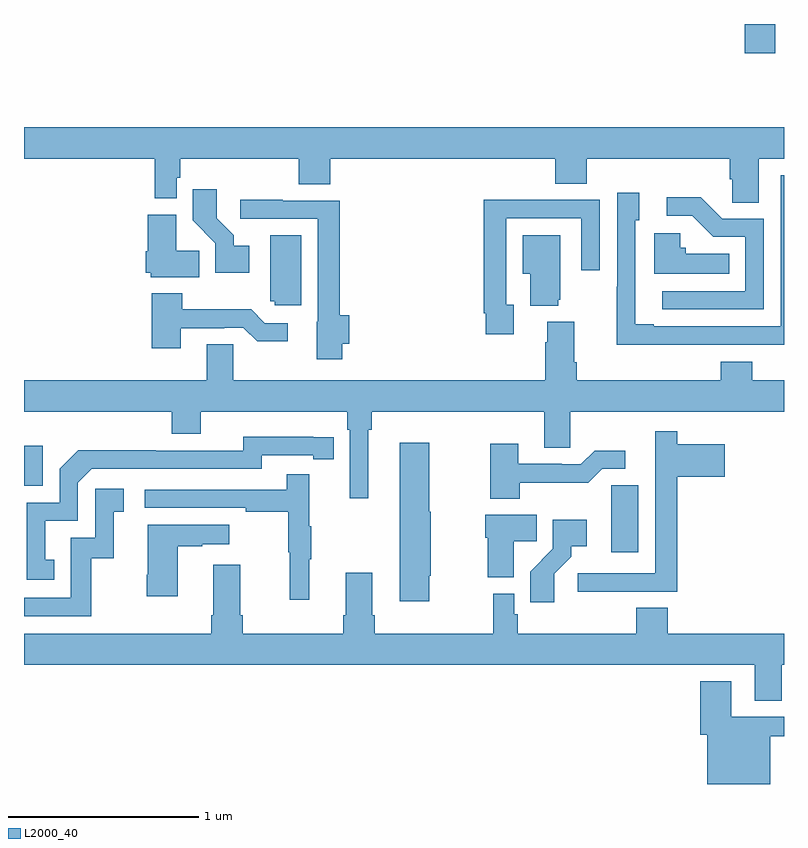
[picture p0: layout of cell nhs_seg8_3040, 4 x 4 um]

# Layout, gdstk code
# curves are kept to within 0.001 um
import gdstk
lib = gdstk.Library(unit=1e-6, precision=1e-09)
def R(c, l, rs):  # rectangles x0, y0, x1, y1
    for r in rs: c.add(gdstk.rectangle(r[:2], r[2:], *l))
def P(c, l, *ps):  # polygons
    for p in ps: c.add(gdstk.Polygon(p, *l))
L2000_40 = (2000, 40)

nhs_seg8_3040 = lib.new_cell('nhs_seg8_3040')
R(nhs_seg8_3040, L2000_40, [(304.793,1091.745,304.953,1091.9)])
P(nhs_seg8_3040, L2000_40, [(304.867,1091.192),(305,1091.192),(305,1091.356),(301,1091.356),(301,1091.192),(301.687,1091.192),(301.687,1090.982),(301.803,1090.982),(301.803,1091.091),(301.823,1091.091),(301.823,1091.192),(302.447,1091.192),(302.447,1091.056),(302.612,1091.056),(302.612,1091.192),(303.797,1091.192),(303.797,1091.059),(303.962,1091.059),(303.962,1091.192),(304.715,1091.192),(304.715,1091.083),(304.728,1091.083),(304.728,1090.96),(304.867,1090.96)],
  [(304.583,1090.212),(305,1090.212),(305,1091.103),(304.983,1091.103),(304.983,1090.308),(304.315,1090.308),(304.315,1090.321),(304.218,1090.321),(304.218,1090.866),(304.237,1090.866),(304.237,1091.011),(304.122,1091.011),(304.122,1090.517),(304.12,1090.517),(304.12,1090.211),(304.583,1090.211)],
  [(302.185,1090.732),(302.104,1090.732),(302.104,1090.787),(302.014,1090.877),(302.014,1091.029),(301.888,1091.029),(301.888,1090.866),(302.007,1090.747),(302.007,1090.592),(302.185,1090.592)],
  [(304.893,1090.875),(304.674,1090.875),(304.561,1090.988),(304.383,1090.988),(304.383,1090.89),(304.517,1090.89),(304.628,1090.779),(304.797,1090.779),(304.797,1090.494),(304.359,1090.494),(304.359,1090.398),(304.893,1090.398)],
  [(303.577,1090.422),(303.537,1090.422),(303.537,1090.878),(303.933,1090.878),(303.933,1090.605),(304.029,1090.605),(304.029,1090.974),(303.713,1090.974),(303.713,1090.976),(303.421,1090.976),(303.421,1090.378),(303.429,1090.378),(303.429,1090.266),(303.577,1090.266)],
  [(302.676,1090.218),(302.711,1090.218),(302.711,1090.367),(302.663,1090.367),(302.663,1090.971),(302.363,1090.971),(302.363,1090.974),(302.139,1090.974),(302.139,1090.875),(302.547,1090.875),(302.547,1090.332),(302.54,1090.332),(302.54,1090.136),(302.676,1090.136)],
  [(301.922,1090.706),(301.801,1090.706),(301.801,1090.897),(301.652,1090.897),(301.652,1090.704),(301.64,1090.704),(301.64,1090.59),(301.668,1090.59),(301.668,1090.568),(301.922,1090.568)],
  [(304.712,1090.69),(304.482,1090.69),(304.482,1090.722),(304.455,1090.722),(304.455,1090.798),(304.316,1090.798),(304.316,1090.586),(304.712,1090.586)],
  [(303.812,1090.449),(303.823,1090.449),(303.823,1090.789),(303.626,1090.789),(303.626,1090.586),(303.665,1090.586),(303.665,1090.418),(303.812,1090.418)],
  [(302.458,1090.789),(302.297,1090.789),(302.297,1090.44),(302.319,1090.44),(302.319,1090.419),(302.458,1090.419)],
  [(301.825,1090.299),(302.054,1090.299),(302.054,1090.302),(302.154,1090.302),(302.227,1090.229),(302.389,1090.229),(302.389,1090.326),(302.268,1090.326),(302.195,1090.399),(301.833,1090.399),(301.833,1090.483),(301.673,1090.483),(301.673,1090.194),(301.825,1090.194)],
  [(302.812,1089.764),(302.831,1089.764),(302.831,1089.86),(303.737,1089.86),(303.737,1089.67),(303.876,1089.67),(303.876,1089.86),(305,1089.86),(305,1090.024),(304.832,1090.024),(304.832,1090.123),(304.667,1090.123),(304.667,1090.024),(303.908,1090.024),(303.908,1090.12),(303.895,1090.12),(303.895,1090.333),(303.755,1090.333),(303.755,1090.226),(303.743,1090.226),(303.743,1090.024),(302.1,1090.024),(302.1,1090.214),(301.961,1090.214),(301.961,1090.024),(301,1090.024),(301,1089.86),(301.778,1089.86),(301.778,1089.743),(301.93,1089.743),(301.93,1089.86),(302.702,1089.86),(302.702,1089.764),(302.715,1089.764),(302.715,1089.405),(302.812,1089.405)],
  [(304.139,1088.913),(304.439,1088.913),(304.439,1089.518),(304.687,1089.518),(304.687,1089.688),(304.439,1089.688),(304.439,1089.757),(304.322,1089.757),(304.322,1089.534),(304.323,1089.534),(304.323,1089.009),(303.915,1089.009),(303.915,1088.911),(304.139,1088.911)],
  [(301.16,1089.081),(301.111,1089.081),(301.111,1089.285),(301.284,1089.285),(301.284,1089.486),(301.356,1089.558),(302.25,1089.558),(302.25,1089.63),(302.522,1089.63),(302.522,1089.61),(302.63,1089.61),(302.63,1089.726),(302.154,1089.727),(302.154,1089.654),(301.694,1089.654),(301.694,1089.656),(301.286,1089.656),(301.188,1089.558),(301.188,1089.381),(301.014,1089.381),(301.014,1088.976),(301.16,1088.976)],
  [(303.132,1088.997),(303.142,1088.997),(303.142,1089.333),(303.132,1089.333),(303.132,1089.697),(302.978,1089.697),(302.978,1088.862),(303.132,1088.862)],
  [(303.609,1089.486),(303.971,1089.485),(304.044,1089.558),(304.165,1089.558),(304.165,1089.655),(304.003,1089.655),(303.93,1089.582),(303.83,1089.582),(303.83,1089.585),(303.601,1089.585),(303.601,1089.691),(303.454,1089.691),(303.454,1089.401),(303.609,1089.401)],
  [(301.098,1089.679),(301.001,1089.679),(301.001,1089.567),(301,1089.567),(301,1089.471),(301.098,1089.471)],
  [(302.501,1089.083),(302.512,1089.083),(302.512,1089.257),(302.501,1089.257),(302.501,1089.529),(302.383,1089.529),(302.383,1089.45),(301.635,1089.45),(301.635,1089.354),(302.167,1089.354),(302.167,1089.334),(302.391,1089.334),(302.391,1089.12),(302.398,1089.12),(302.398,1088.871),(302.501,1088.871)],
  [(304.234,1089.473),(304.092,1089.473),(304.092,1089.362),(304.091,1089.362),(304.091,1089.12),(304.234,1089.12)],
  [(301.354,1089.087),(301.472,1089.087),(301.472,1089.333),(301.525,1089.333),(301.525,1089.454),(301.374,1089.454),(301.374,1089.195),(301.245,1089.195),(301.245,1088.88),(301,1088.88),(301,1088.784),(301.354,1088.784)],
  [(303.577,1089.178),(303.698,1089.178),(303.698,1089.316),(303.428,1089.316),(303.428,1089.195),(303.44,1089.195),(303.44,1088.987),(303.577,1088.987)],
  [(303.79,1089.007),(303.88,1089.097),(303.88,1089.152),(303.961,1089.152),(303.961,1089.292),(303.783,1089.292),(303.783,1089.137),(303.664,1089.018),(303.664,1088.856),(303.79,1088.856)],
  [(301.81,1089.151),(301.937,1089.151),(301.937,1089.161),(302.08,1089.161),(302.08,1089.265),(301.652,1089.265),(301.652,1089.001),(301.645,1089.001),(301.645,1088.889),(301.81,1088.889)],
  [(304.987,1088.528),(305,1088.528),(305,1088.692),(304.388,1088.692),(304.388,1088.828),(304.223,1088.828),(304.223,1088.692),(303.599,1088.692),(303.599,1088.793),(303.579,1088.793),(303.579,1088.902),(303.471,1088.902),(303.471,1088.692),(302.846,1088.692),(302.846,1088.788),(302.833,1088.788),(302.833,1089.013),(302.693,1089.013),(302.693,1088.788),(302.681,1088.788),(302.681,1088.692),(302.15,1088.692),(302.15,1088.788),(302.137,1088.788),(302.137,1089.055),(301.997,1089.055),(301.997,1088.788),(301.985,1088.788),(301.985,1088.692),(301,1088.692),(301,1088.528),(304.847,1088.528),(304.847,1088.338),(304.987,1088.338)],
  [(304.927,1088.152),(305,1088.152),(305,1088.253),(304.723,1088.253),(304.723,1088.44),(304.559,1088.44),(304.559,1088.16),(304.595,1088.16),(304.595,1087.9),(304.927,1087.9)])

lib.write_gds('nhs_seg8_3040.gds')
